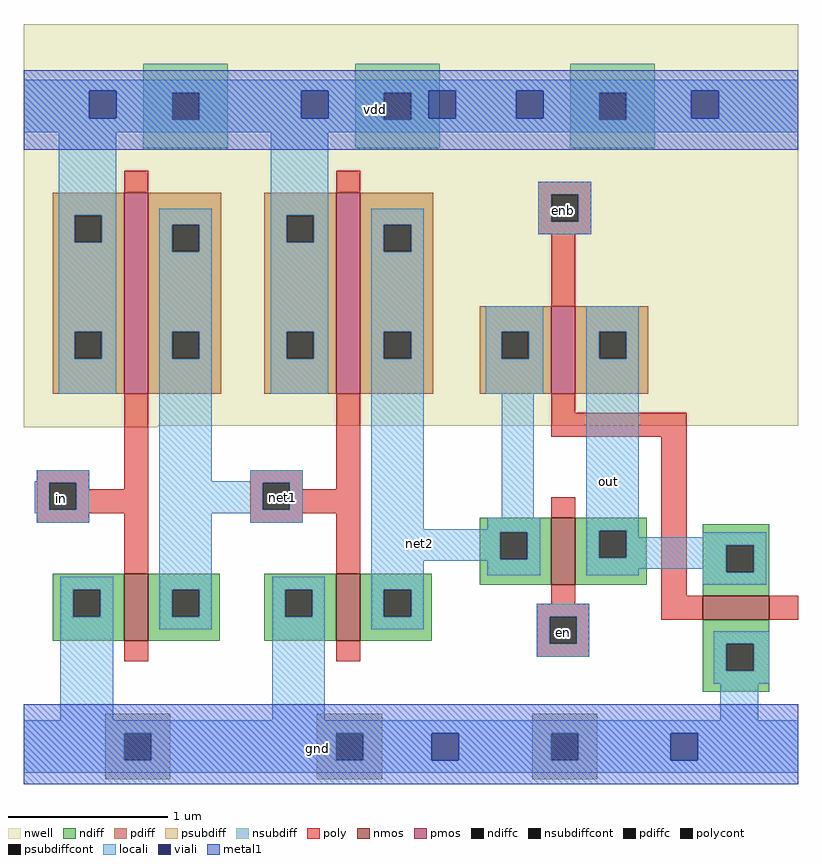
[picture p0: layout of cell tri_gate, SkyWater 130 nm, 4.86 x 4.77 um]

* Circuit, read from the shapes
.subckt tri_gate in en enb gnd vdd out
XM1 net1 in gnd gnd sky130_fd_pr__nfet_01v8 w=0.42 l=0.15
XM2 net2 net1 gnd gnd sky130_fd_pr__nfet_01v8 w=0.42 l=0.15
XM3 out en net2 gnd sky130_fd_pr__nfet_01v8 w=0.42 l=0.15
XM4 out enb gnd gnd sky130_fd_pr__nfet_01v8 w=0.42 l=0.15
XM5 net1 in vdd vdd sky130_fd_pr__pfet_01v8 w=1.26 l=0.15
XM6 net2 net1 vdd vdd sky130_fd_pr__pfet_01v8 w=1.26 l=0.15
XM7 out enb net2 vdd sky130_fd_pr__pfet_01v8 w=0.55 l=0.15
.ends

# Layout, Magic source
magic
tech sky130A
<< nwell >>
rect -3 425 483 677
rect -3 424 81 425
<< nmos >>
rect 60 290 75 332
rect 193 290 208 332
rect 328 325 343 367
rect 423 303 465 318
<< pmos >>
rect 60 445 75 571
rect 193 445 208 571
rect 328 445 343 500
<< ndiff >>
rect 283 358 328 367
rect 283 341 296 358
rect 313 341 328 358
rect 15 322 60 332
rect 15 305 28 322
rect 45 305 60 322
rect 15 290 60 305
rect 75 322 120 332
rect 75 305 90 322
rect 107 305 120 322
rect 75 290 120 305
rect 148 322 193 332
rect 148 305 161 322
rect 178 305 193 322
rect 148 290 193 305
rect 208 322 253 332
rect 283 325 328 341
rect 343 359 388 367
rect 343 342 358 359
rect 375 342 388 359
rect 343 325 388 342
rect 208 305 223 322
rect 240 305 253 322
rect 423 350 465 363
rect 423 333 438 350
rect 455 333 465 350
rect 423 318 465 333
rect 208 290 253 305
rect 423 288 465 303
rect 423 271 438 288
rect 455 271 465 288
rect 423 258 465 271
<< pdiff >>
rect 15 557 60 571
rect 15 540 29 557
rect 46 540 60 557
rect 15 484 60 540
rect 15 467 29 484
rect 46 467 60 484
rect 15 445 60 467
rect 75 551 121 571
rect 75 534 90 551
rect 107 534 121 551
rect 75 484 121 534
rect 75 467 90 484
rect 107 467 121 484
rect 75 445 121 467
rect 148 557 193 571
rect 148 540 162 557
rect 179 540 193 557
rect 148 484 193 540
rect 148 467 162 484
rect 179 467 193 484
rect 148 445 193 467
rect 208 551 254 571
rect 208 534 223 551
rect 240 534 254 551
rect 208 484 254 534
rect 208 467 223 484
rect 240 467 254 484
rect 208 445 254 467
rect 283 484 328 500
rect 283 467 297 484
rect 314 467 328 484
rect 283 445 328 467
rect 343 484 389 500
rect 343 467 358 484
rect 375 467 389 484
rect 343 445 389 467
<< ndiffc >>
rect 296 341 313 358
rect 28 305 45 322
rect 90 305 107 322
rect 161 305 178 322
rect 358 342 375 359
rect 223 305 240 322
rect 438 333 455 350
rect 438 271 455 288
<< pdiffc >>
rect 29 540 46 557
rect 29 467 46 484
rect 90 534 107 551
rect 90 467 107 484
rect 162 540 179 557
rect 162 467 179 484
rect 223 534 240 551
rect 223 467 240 484
rect 297 467 314 484
rect 358 467 375 484
<< psubdiff >>
rect 48 232 89 244
rect 48 215 60 232
rect 77 215 89 232
rect 48 203 89 215
rect 181 232 222 244
rect 181 215 193 232
rect 210 215 222 232
rect 181 203 222 215
rect 316 232 357 244
rect 316 215 328 232
rect 345 215 357 232
rect 316 203 357 215
<< nsubdiff >>
rect 72 634 125 652
rect 72 617 90 634
rect 107 617 125 634
rect 72 599 125 617
rect 205 634 258 652
rect 205 617 223 634
rect 240 617 258 634
rect 205 599 258 617
rect 340 634 393 652
rect 340 617 358 634
rect 375 617 393 634
rect 340 599 393 617
<< psubdiffcont >>
rect 60 215 77 232
rect 193 215 210 232
rect 328 215 345 232
<< nsubdiffcont >>
rect 90 617 107 634
rect 223 617 240 634
rect 358 617 375 634
<< poly >>
rect 60 571 75 585
rect 193 571 208 585
rect 320 570 353 578
rect 320 553 328 570
rect 345 553 353 570
rect 320 545 353 553
rect 328 500 343 545
rect 5 389 38 397
rect 5 372 13 389
rect 30 385 38 389
rect 60 385 75 445
rect 30 372 75 385
rect 5 370 75 372
rect 5 364 38 370
rect 60 332 75 370
rect 139 389 172 397
rect 139 372 147 389
rect 164 385 172 389
rect 193 385 208 445
rect 328 433 343 445
rect 328 418 413 433
rect 164 372 208 385
rect 139 370 208 372
rect 139 364 172 370
rect 193 332 208 370
rect 328 367 343 380
rect 328 313 343 325
rect 397 318 413 418
rect 319 305 352 313
rect 60 277 75 290
rect 193 277 208 290
rect 319 288 327 305
rect 344 288 352 305
rect 397 303 423 318
rect 465 303 483 318
rect 319 280 352 288
<< polycont >>
rect 328 553 345 570
rect 13 372 30 389
rect 147 372 164 389
rect 327 288 344 305
<< locali >>
rect -3 635 483 642
rect -3 618 38 635
rect 55 634 171 635
rect 55 618 90 634
rect -3 617 90 618
rect 107 618 171 634
rect 188 634 251 635
rect 188 618 223 634
rect 107 617 223 618
rect 240 618 251 634
rect 268 618 306 635
rect 323 634 416 635
rect 323 618 358 634
rect 240 617 358 618
rect 375 618 416 634
rect 433 618 483 635
rect 375 617 483 618
rect -3 609 483 617
rect 19 557 55 609
rect 19 540 29 557
rect 46 540 55 557
rect 19 484 55 540
rect 19 467 29 484
rect 46 467 55 484
rect 19 445 55 467
rect 82 551 115 561
rect 82 534 90 551
rect 107 534 115 551
rect 82 484 115 534
rect 82 467 90 484
rect 107 467 115 484
rect 5 390 38 397
rect 4 389 38 390
rect 4 372 13 389
rect 30 372 38 389
rect 4 370 38 372
rect 5 364 38 370
rect 82 390 115 467
rect 152 557 188 609
rect 320 570 353 578
rect 152 540 162 557
rect 179 540 188 557
rect 152 484 188 540
rect 152 467 162 484
rect 179 467 188 484
rect 152 445 188 467
rect 215 551 248 561
rect 215 534 223 551
rect 240 534 248 551
rect 320 553 328 570
rect 345 553 353 570
rect 320 545 353 553
rect 215 484 248 534
rect 215 467 223 484
rect 240 467 248 484
rect 139 390 172 397
rect 82 389 172 390
rect 82 372 147 389
rect 164 372 172 389
rect 82 370 172 372
rect 20 322 53 330
rect 20 305 28 322
rect 45 305 53 322
rect 20 240 53 305
rect 82 322 115 370
rect 139 364 172 370
rect 215 360 248 467
rect 287 484 323 500
rect 287 467 297 484
rect 314 467 323 484
rect 287 445 323 467
rect 350 484 383 500
rect 350 467 358 484
rect 375 467 383 484
rect 297 367 317 445
rect 288 360 321 367
rect 215 358 321 360
rect 215 341 296 358
rect 313 341 321 358
rect 215 340 321 341
rect 82 305 90 322
rect 107 305 115 322
rect 82 297 115 305
rect 153 322 186 330
rect 153 305 161 322
rect 178 305 186 322
rect 153 240 186 305
rect 215 322 248 340
rect 288 331 321 340
rect 350 359 383 467
rect 350 342 358 359
rect 375 355 383 359
rect 423 355 463 358
rect 375 350 463 355
rect 375 342 438 350
rect 350 335 438 342
rect 350 331 383 335
rect 423 333 438 335
rect 455 333 463 350
rect 423 325 463 333
rect 215 305 223 322
rect 240 305 248 322
rect 215 297 248 305
rect 319 305 352 313
rect 319 288 327 305
rect 344 288 352 305
rect 319 280 352 288
rect 430 288 465 296
rect 430 271 438 288
rect 455 271 465 288
rect 430 263 465 271
rect 434 240 458 263
rect -3 232 483 240
rect -3 215 60 232
rect 77 215 193 232
rect 210 215 253 232
rect 270 215 328 232
rect 345 215 403 232
rect 420 215 483 232
rect -3 207 483 215
<< viali >>
rect 38 618 55 635
rect 171 618 188 635
rect 251 618 268 635
rect 306 618 323 635
rect 416 618 433 635
rect 253 215 270 232
rect 403 215 420 232
<< metal1 >>
rect -3 635 483 648
rect -3 618 38 635
rect 55 618 171 635
rect 188 618 251 635
rect 268 618 306 635
rect 323 618 416 635
rect 433 618 483 635
rect -3 598 483 618
rect -3 232 483 250
rect -3 215 253 232
rect 270 215 403 232
rect 420 215 483 232
rect -3 200 483 215
<< labels >>
flabel metal1 s 156 211 207 234 7 FreeSans 200 0 0 0 gnd
port 11 w
flabel locali s 15 373 26 386 7 FreeSans 400 0 0 0 in
port 1 w
flabel locali s 232 346 259 356 0 FreeSans 200 0 0 0 net2
flabel locali s 144 375 175 385 7 FreeSans 200 0 0 0 net1
flabel locali s 359 385 369 395 0 FreeSans 200 0 0 0 out
port 13 nsew
flabel locali s 325 284 347 306 7 FreeSans 400 0 0 0 en
port 4 w
flabel metal1 s 156 602 279 645 7 FreeSans 200 0 0 0 vdd
port 12 w
flabel locali s 325 549 347 571 7 FreeSans 400 0 0 0 enb
port 5 w
<< properties >>
string FIXED_BBOX -3 223 483 625
<< end >>
